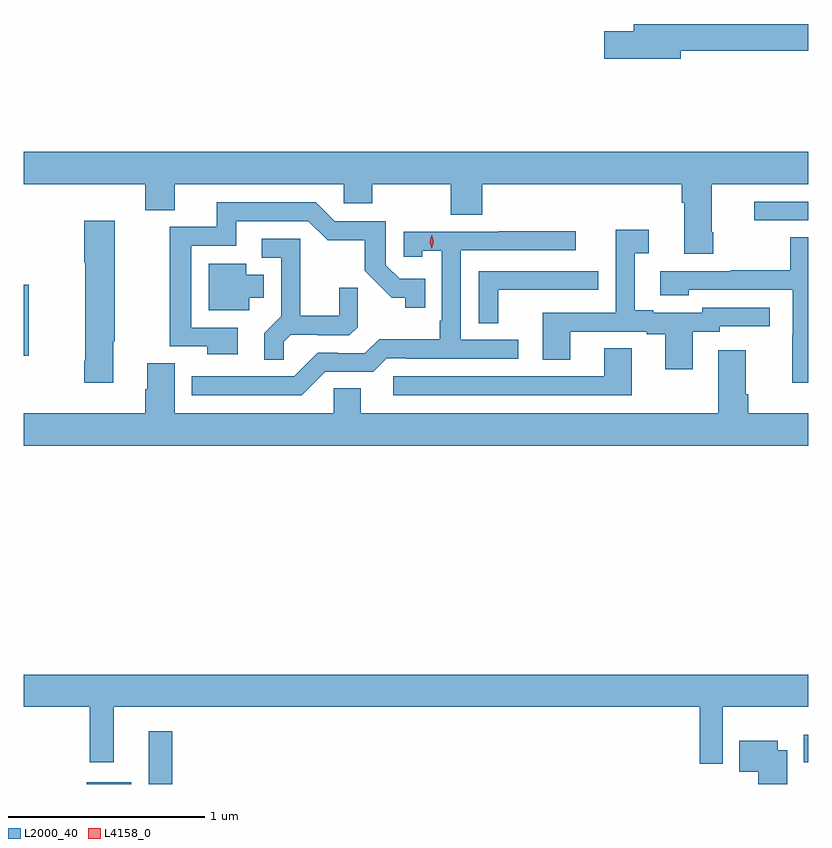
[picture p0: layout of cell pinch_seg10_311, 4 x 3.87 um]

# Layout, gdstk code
import gdstk
lib = gdstk.Library(unit=1e-6, precision=1e-09)
def R(c, l, rs):  # rectangles x0, y0, x1, y1
    for r in rs: c.add(gdstk.rectangle(r[:2], r[2:], *l))
def P(c, l, *ps):  # polygons
    for p in ps: c.add(gdstk.Polygon(p, *l))
L2000_40 = (2000, 40)
L4158_0 = (4158, 0)

pinch_seg10_311 = lib.new_cell('pinch_seg10_311')
R(pinch_seg10_311, L2000_40, [(493.7,1274.615,493.927,1274.623), (494.015,1274.615,494.137,1274.884), (497.355,1274.726,497.378,1274.866), (493.378,1276.798,493.404,1277.158), (497.103,1277.487,497.378,1277.583)])
P(pinch_seg10_311, L2000_40, [(496.726,1278.352),(497.378,1278.352),(497.378,1278.488),(496.487,1278.488),(496.487,1278.452),(496.338,1278.452),(496.338,1278.31),(496.726,1278.31)],
  [(496.893,1277.428),(496.885,1277.428),(496.885,1277.672),(497.378,1277.672),(497.378,1277.836),(493.378,1277.836),(493.378,1277.672),(493.997,1277.672),(493.997,1277.539),(494.149,1277.539),(494.149,1277.672),(495.009,1277.672),(495.009,1277.574),(495.156,1277.574),(495.156,1277.672),(495.556,1277.672),(495.556,1277.515),(495.716,1277.515),(495.716,1277.672),(496.733,1277.672),(496.733,1277.576),(496.745,1277.576),(496.745,1277.316),(496.893,1277.316)],
  [(494.47,1276.941),(494.232,1276.941),(494.232,1277.358),(494.461,1277.358),(494.461,1277.484),(494.829,1277.484),(494.928,1277.386),(495.117,1277.386),(495.117,1277.23),(495.254,1277.093),(495.324,1277.093),(495.324,1277.043),(495.425,1277.043),(495.425,1277.19),(495.294,1277.19),(495.225,1277.259),(495.225,1277.484),(494.964,1277.484),(494.868,1277.58),(494.363,1277.58),(494.363,1277.454),(494.124,1277.454),(494.124,1276.845),(494.314,1276.845),(494.314,1276.805),(494.47,1276.805)],
  [(493.834,1276.871),(493.842,1276.871),(493.842,1277.485),(493.688,1277.485),(493.688,1277.272),(493.693,1277.272),(493.693,1276.771),(493.688,1276.771),(493.688,1276.659),(493.834,1276.659)],
  [(496.789,1276.92),(496.926,1276.92),(496.926,1276.947),(497.182,1276.947),(497.182,1277.043),(496.836,1277.043),(496.836,1277.016),(496.588,1277.016),(496.588,1277.029),(496.492,1277.029),(496.492,1277.32),(496.564,1277.32),(496.564,1277.44),(496.395,1277.44),(496.395,1277.016),(496.025,1277.016),(496.025,1276.777),(496.165,1276.777),(496.165,1276.92),(496.553,1276.92),(496.553,1276.908),(496.649,1276.908),(496.649,1276.728),(496.789,1276.728)],
  [(494.916,1276.716),(495.159,1276.716),(495.228,1276.785),(495.328,1276.785),(495.328,1276.782),(495.898,1276.782),(495.898,1276.878),(495.606,1276.878),(495.606,1277.334),(496.192,1277.334),(496.192,1277.433),(495.799,1277.433),(495.799,1277.43),(495.315,1277.43),(495.315,1277.301),(495.411,1277.301),(495.411,1277.333),(495.51,1277.333),(495.51,1276.975),(495.498,1276.975),(495.498,1276.882),(495.19,1276.882),(495.117,1276.809),(494.978,1276.809),(494.978,1276.812),(494.877,1276.812),(494.757,1276.692),(494.234,1276.692),(494.234,1276.596),(494.796,1276.596)],
  [(497.378,1277.402),(497.286,1277.402),(497.286,1277.232),(496.981,1277.232),(496.981,1277.229),(496.623,1277.229),(496.623,1277.105),(496.767,1277.105),(496.767,1277.133),(497.298,1277.133),(497.298,1276.901),(497.296,1276.901),(497.296,1276.661),(497.378,1276.661)],
  [(494.703,1276.868),(494.74,1276.905),(494.874,1276.905),(494.874,1276.902),(495.039,1276.902),(495.08,1276.943),(495.08,1277.145),(494.986,1277.145),(494.986,1277.002),(494.789,1277.002),(494.789,1277.394),(494.592,1277.394),(494.592,1277.298),(494.691,1277.298),(494.691,1276.999),(494.605,1276.913),(494.605,1276.777),(494.703,1276.777)],
  [(494.527,1277.093),(494.602,1277.093),(494.602,1277.209),(494.512,1277.209),(494.512,1277.266),(494.321,1277.266),(494.321,1277.03),(494.527,1277.03)],
  [(495.798,1277.133),(496.193,1277.133),(496.193,1277.134),(496.306,1277.134),(496.306,1277.229),(495.699,1277.229),(495.699,1276.963),(495.798,1276.963)],
  [(496.477,1276.835),(496.337,1276.835),(496.337,1276.692),(495.261,1276.692),(495.261,1276.596),(496.477,1276.596)],
  [(497.378,1276.504),(497.072,1276.504),(497.072,1276.6),(497.059,1276.6),(497.059,1276.825),(496.919,1276.825),(496.919,1276.504),(495.097,1276.504),(495.097,1276.631),(494.958,1276.631),(494.958,1276.504),(494.149,1276.504),(494.149,1276.76),(494.009,1276.76),(494.009,1276.626),(493.997,1276.626),(493.997,1276.504),(493.378,1276.504),(493.378,1276.34),(497.378,1276.34)],
  [(496.941,1275.008),(497.378,1275.008),(497.378,1275.172),(493.378,1275.172),(493.378,1275.008),(493.716,1275.008),(493.716,1274.727),(493.837,1274.727),(493.837,1275.008),(496.825,1275.008),(496.825,1274.718),(496.941,1274.718)],
  [(497.269,1274.788),(497.221,1274.788),(497.221,1274.836),(497.026,1274.836),(497.026,1274.678),(497.123,1274.678),(497.123,1274.615),(497.269,1274.615)])
P(pinch_seg10_311, L4158_0, [(495.457,1277.343),(495.457,1277.343),(495.448,1277.379),(495.458,1277.415),(495.459,1277.415),(495.459,1277.415),(495.468,1277.378),(495.458,1277.343)])

lib.write_gds('pinch_seg10_311.gds')
